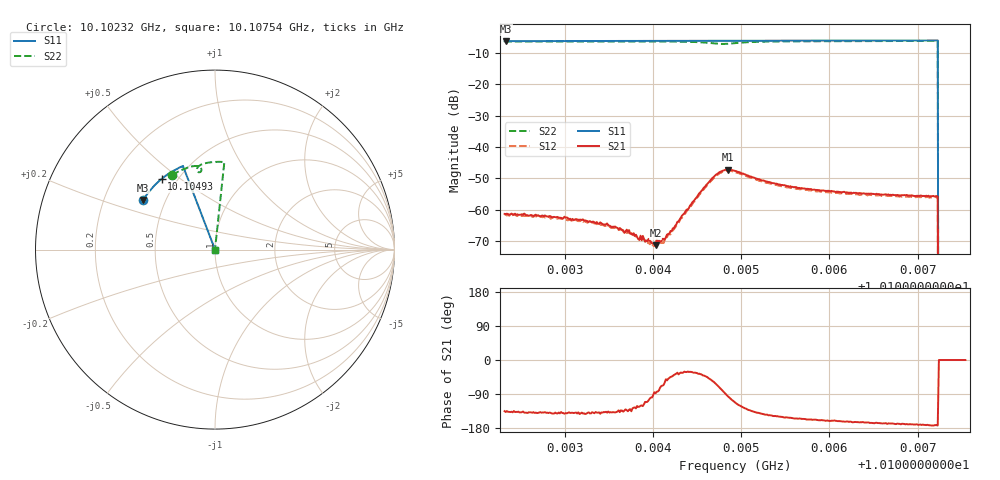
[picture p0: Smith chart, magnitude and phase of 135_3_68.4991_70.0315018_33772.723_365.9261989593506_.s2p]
#  HZ  S  RI  R  50.00
! Rohde & Schwarz Vector Network Analyzer
! Rohde-Schwarz,ZNB20-2Port,1311601062101988,3.16
! Created: UTC 3/20/2024, 4:54:39 PM
! freq[Hz]  re:S11  im:S11  re:S21  im:S21  re:S12  im:S12  re:S22  im:S22
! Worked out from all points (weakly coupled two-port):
!   401 points, 10.10232 GHz to 10.10754 GHz, reference 50 ohm
!   highest |S21| = -47.23 dB at 10.10485 GHz (marker M1); lowest = -71.3 dB at 10.10403 GHz (marker M2)
!   lowest |S11| = -6.3 dB at 10.10233 GHz (marker M3), VSWR 2.89, Z = 18.7 + j13.5 ohm
!   |S11| at or under -10 dB: 10.10723 GHz to end of sweep
!   |S22| runs from - to -6.2 dB; largest |S21 - S12| = 0.00044
!   S11 on the Smith chart (normalised r, x): 10.10232 GHz: 0.37, +0.27; 10.10493 GHz: 0.41, +0.43; 10.10754 GHz: 1.00, +0.00
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1.0102319e10  -0.401 0.2752  -0.000607 -0.000606  -0.000545 -0.00063  -0.2373 0.4157
1.0102332e10  -0.4004 0.2759  -0.000629 -0.000578  -0.000566 -0.000621  -0.2366 0.4161
1.0103194e10  -0.3704 0.319  -0.000514 -0.00045  -0.000467 -0.000463  -0.1864 0.4434
1.0103481e10  -0.3595 0.3325  -0.000456 -0.000399  -0.000386 -0.0004  -0.1684 0.4511
1.0103638e10  -0.3533 0.3397  -0.000333 -0.00036  -0.000316 -0.000373  -0.1581 0.455
1.010373e10  -0.3494 0.3437  -0.000313 -0.000356  -0.000231 -0.000333  -0.1519 0.4572
1.0103847e10  -0.3448 0.3492  -0.00018 -0.000277  -0.000154 -0.000317  -0.1439 0.4597
1.010403e10  -0.337 0.3573  9.49e-06 -0.000273  4.58e-05 -0.000271  -0.1305 0.4631
1.0104069e10  -0.3355 0.359  5.52e-05 -0.00032  7.67e-05 -0.000294  -0.1274 0.4637
1.0104121e10  -0.3332 0.3612  0.000139 -0.000314  0.000154 -0.000253  -0.1232 0.4646
1.0104213e10  -0.3293 0.3652  0.000325 -0.000313  0.000336 -0.000286  -0.1156 0.4656
1.0104513e10  -0.3159 0.3776  0.00138 -0.00102  0.0014 -0.000827  -0.0869 0.4611
1.010467e10  -0.3088 0.3839  0.00184 -0.00255  0.00195 -0.00225  -0.0755 0.445
1.0104774e10  -0.3042 0.3879  0.000877 -0.004  0.00122 -0.00372  -0.0824 0.4319
1.0104853e10  -0.3006 0.3909  -0.000481 -0.00432  -6.1e-05 -0.00418  -0.0937 0.4323
1.0104931e10  -0.297 0.394  -0.00156 -0.00386  -0.00119 -0.00383  -0.1003 0.4408
1.0105296e10  -0.2796 0.4078  -0.00228 -0.00164  -0.00204 -0.00172  -0.0808 0.4717
1.0105806e10  -0.2544 0.4256  -0.00193 -0.000788  -0.00177 -0.000954  -0.0429 0.4835
1.0106681e10  -0.2086 0.4519  -0.00168 -0.000375  -0.00158 -0.0005  0.0164 0.489
1.0107203e10  -0.18 0.4653  -0.00162 -0.000237  -0.00156 -0.000355  0.0505 0.488
1.0107268e10  0 0  0 0  0 0  0 0
1.0107542e10  0 0  0 0  0 0  0 0
